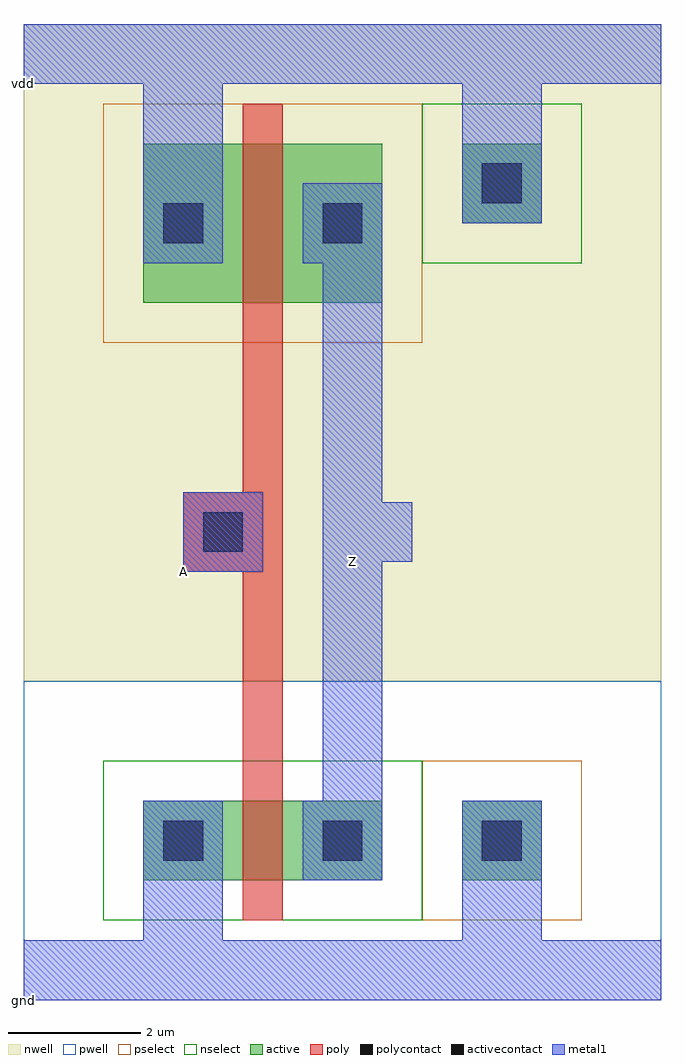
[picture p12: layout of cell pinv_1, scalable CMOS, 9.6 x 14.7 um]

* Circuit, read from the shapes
.subckt pinv_1 A Z gnd vdd
M1 Z A gnd gnd nfet w=1.2u l=0.6u
M2 Z A vdd vdd pfet w=2.4u l=0.6u
.ends

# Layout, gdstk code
import gdstk
lib = gdstk.Library(unit=1e-6, precision=1e-09)
def R(c, l, rs):  # rectangles x0, y0, x1, y1
    for r in rs: c.add(gdstk.rectangle(r[:2], r[2:], *l))
pwell = (41, 0)
nwell = (42, 0)
active = (43, 0)
pselect = (44, 0)
nselect = (45, 0)
poly = (46, 0)
polycontact = (47, 0)
activecontact = (48, 0)
metal1 = (49, 0)

active_contact_metal1_1x = lib.new_cell('active_contact_metal1_1x1_pn')
R(active_contact_metal1_1x, nwell, [(-1.8,-1.8,3,3), (-1.8,-1.8,3,3)])
R(active_contact_metal1_1x, active, [(0,0,1.2,1.2), (0,0,1.2,1.2)])
R(active_contact_metal1_1x, pselect, [(-0.6,-0.6,1.8,1.8), (-0.6,-0.6,1.8,1.8)])
R(active_contact_metal1_1x, activecontact, [(0.3,0.3,0.9,0.9), (0.3,0.3,0.9,0.9)])
R(active_contact_metal1_1x, metal1, [(0,0,1.2,1.2), (0,0,1.2,1.2)])

pmos_m1_w2_4_a_p = lib.new_cell('pmos_m1_w2_4_a_p')
R(pmos_m1_w2_4_a_p, nwell, [(-1.8,-1.8,5.4,4.2), (-1.8,-1.8,5.4,4.2)])
R(pmos_m1_w2_4_a_p, active, [(0,0,3.6,2.4), (0,0,3.6,2.4)])
R(pmos_m1_w2_4_a_p, pselect, [(-0.6,-0.6,4.2,3), (-0.6,-0.6,4.2,3)])
R(pmos_m1_w2_4_a_p, poly, [(1.5,-0.6,2.1,3), (1.5,-0.6,2.1,3), (1.5,-0.6,2.1,3), (1.5,-0.6,2.1,3)])
R(pmos_m1_w2_4_a_p, metal1, [(0,0.6,1.2,1.8), (0,0.6,1.2,1.8), (2.4,0.6,3.6,1.8), (2.4,0.6,3.6,1.8)])
pmos_m1_w2_4_a_p.add(gdstk.Reference(active_contact_metal1_1x, (0,0.6)))
pmos_m1_w2_4_a_p.add(gdstk.Reference(active_contact_metal1_1x, (2.4,0.6)))
pmos_m1_w2_4_a_p.add(gdstk.Reference(active_contact_metal1_1x, (0,0.6)))
pmos_m1_w2_4_a_p.add(gdstk.Reference(active_contact_metal1_1x, (2.4,0.6)))
pmos_m1_w2_4_a_p.add(gdstk.Label('S', (0,0.6), layer=49, texttype=0))
pmos_m1_w2_4_a_p.add(gdstk.Label('D', (2.4,0.6), layer=49, texttype=0))
pmos_m1_w2_4_a_p.add(gdstk.Label('G', (1.5,-0.6), layer=46, texttype=0))
pmos_m1_w2_4_a_p.add(gdstk.Label('S', (0,0.6), layer=49, texttype=0))
pmos_m1_w2_4_a_p.add(gdstk.Label('D', (2.4,0.6), layer=49, texttype=0))
pmos_m1_w2_4_a_p.add(gdstk.Label('G', (1.5,-0.6), layer=46, texttype=0))

c_active_contact_metal1_1x = lib.new_cell('active_contact_metal1_1x1_np')
R(c_active_contact_metal1_1x, pwell, [(-1.8,-1.8,3,3)])
R(c_active_contact_metal1_1x, active, [(0,0,1.2,1.2)])
R(c_active_contact_metal1_1x, nselect, [(-0.6,-0.6,1.8,1.8)])
R(c_active_contact_metal1_1x, activecontact, [(0.3,0.3,0.9,0.9)])
R(c_active_contact_metal1_1x, metal1, [(0,0,1.2,1.2)])

nmos_m1_w1_2_a_p = lib.new_cell('nmos_m1_w1_2_a_p')
R(nmos_m1_w1_2_a_p, pwell, [(-1.8,-1.8,5.4,3), (-1.8,-1.8,5.4,3)])
R(nmos_m1_w1_2_a_p, active, [(0,0,3.6,1.2), (0,0,3.6,1.2)])
R(nmos_m1_w1_2_a_p, nselect, [(-0.6,-0.6,4.2,1.8), (-0.6,-0.6,4.2,1.8)])
R(nmos_m1_w1_2_a_p, poly, [(1.5,-0.6,2.1,1.8), (1.5,-0.6,2.1,1.8), (1.5,-0.6,2.1,1.8), (1.5,-0.6,2.1,1.8)])
R(nmos_m1_w1_2_a_p, metal1, [(0,0,1.2,1.2), (0,0,1.2,1.2), (2.4,0,3.6,1.2), (2.4,0,3.6,1.2)])
nmos_m1_w1_2_a_p.add(gdstk.Reference(c_active_contact_metal1_1x, (0,0)))
nmos_m1_w1_2_a_p.add(gdstk.Reference(c_active_contact_metal1_1x, (2.4,0)))
nmos_m1_w1_2_a_p.add(gdstk.Reference(c_active_contact_metal1_1x, (0,0)))
nmos_m1_w1_2_a_p.add(gdstk.Reference(c_active_contact_metal1_1x, (2.4,0)))
nmos_m1_w1_2_a_p.add(gdstk.Label('S', (0,0), layer=49, texttype=0))
nmos_m1_w1_2_a_p.add(gdstk.Label('D', (2.4,0), layer=49, texttype=0))
nmos_m1_w1_2_a_p.add(gdstk.Label('G', (1.5,-0.6), layer=46, texttype=0))
nmos_m1_w1_2_a_p.add(gdstk.Label('S', (0,0), layer=49, texttype=0))
nmos_m1_w1_2_a_p.add(gdstk.Label('D', (2.4,0), layer=49, texttype=0))
nmos_m1_w1_2_a_p.add(gdstk.Label('G', (1.5,-0.6), layer=46, texttype=0))

c_active_contact_metal1_1x_ = lib.new_cell('active_contact_metal1_1x1_nn')
R(c_active_contact_metal1_1x_, nwell, [(-1.8,-1.8,3,3), (-1.8,-1.8,3,3)])
R(c_active_contact_metal1_1x_, active, [(0,0,1.2,1.2), (0,0,1.2,1.2)])
R(c_active_contact_metal1_1x_, nselect, [(-0.6,-0.6,1.8,1.8), (-0.6,-0.6,1.8,1.8)])
R(c_active_contact_metal1_1x_, activecontact, [(0.3,0.3,0.9,0.9), (0.3,0.3,0.9,0.9)])
R(c_active_contact_metal1_1x_, metal1, [(0,0,1.2,1.2), (0,0,1.2,1.2)])

c_active_contact_metal1_1x__ = lib.new_cell('active_contact_metal1_1x1_pp')
R(c_active_contact_metal1_1x__, pwell, [(-1.8,-1.8,3,3)])
R(c_active_contact_metal1_1x__, active, [(0,0,1.2,1.2)])
R(c_active_contact_metal1_1x__, pselect, [(-0.6,-0.6,1.8,1.8)])
R(c_active_contact_metal1_1x__, activecontact, [(0.3,0.3,0.9,0.9)])
R(c_active_contact_metal1_1x__, metal1, [(0,0,1.2,1.2)])

poly_contact_metal1_1x1 = lib.new_cell('poly_contact_metal1_1x1')
R(poly_contact_metal1_1x1, poly, [(0,0,1.2,1.2), (0,0,1.2,1.2)])
R(poly_contact_metal1_1x1, polycontact, [(0.3,0.3,0.9,0.9), (0.3,0.3,0.9,0.9)])
R(poly_contact_metal1_1x1, metal1, [(0,0,1.2,1.2), (0,0,1.2,1.2)])

pinv_1 = lib.new_cell('pinv_1')
R(pinv_1, pwell, [(0,-0.45,9.6,4.35)])
R(pinv_1, nwell, [(0,4.35,9.6,14.25)])
R(pinv_1, poly, [(3.3,0.75,3.9,9.45), (3,6,3.3,7.2)])
R(pinv_1, metal1, [(0,-0.45,9.6,0.45), (1.8,-0.45,3,1.35), (6.6,0,7.8,1.95), (4.5,1.35,5.4,10.65), (2.4,6,3.6,7.2), (4.95,6.15,5.85,7.05), (1.8,10.65,3,14.25), (6.6,11.85,7.8,13.8), (0,13.35,9.6,14.25)])
pinv_1.add(gdstk.Reference(pmos_m1_w2_4_a_p, (1.8,10.05)))
pinv_1.add(gdstk.Reference(nmos_m1_w1_2_a_p, (1.8,1.35)))
pinv_1.add(gdstk.Reference(c_active_contact_metal1_1x_, (6.6,11.25)))
pinv_1.add(gdstk.Reference(c_active_contact_metal1_1x__, (6.6,1.35)))
pinv_1.add(gdstk.Reference(poly_contact_metal1_1x1, (2.4,6)))
pinv_1.add(gdstk.Label('A', (2.4,6), layer=49, texttype=0))
pinv_1.add(gdstk.Label('Z', (4.95,6.15), layer=49, texttype=0))
pinv_1.add(gdstk.Label('vdd', (0,13.35), layer=49, texttype=0))
pinv_1.add(gdstk.Label('gnd', (0,-0.45), layer=49, texttype=0))

lib.write_gds('pinv_1.gds')
